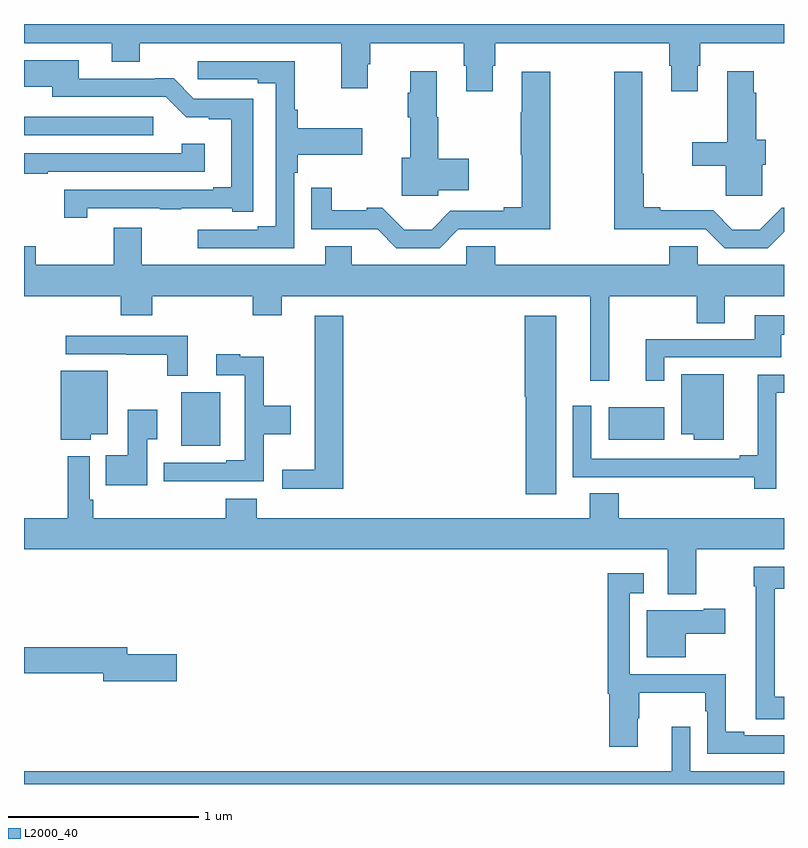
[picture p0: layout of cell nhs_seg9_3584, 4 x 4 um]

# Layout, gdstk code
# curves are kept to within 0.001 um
import gdstk
lib = gdstk.Library(unit=1e-6, precision=1e-09)
def R(c, l, rs):  # rectangles x0, y0, x1, y1
    for r in rs: c.add(gdstk.rectangle(r[:2], r[2:], *l))
def P(c, l, *ps):  # polygons
    for p in ps: c.add(gdstk.Polygon(p, *l))
L2000_40 = (2000, 40)

nhs_seg9_3584 = lib.new_cell('nhs_seg9_3584')
R(nhs_seg9_3584, L2000_40, [(315.827,1214.279,316.033,1214.563), (318.077,1214.312,318.37,1214.482), (315,1215.915,315.679,1216.011)])
P(nhs_seg9_3584, L2000_40, [(317.467,1216.281),(317.48,1216.281),(317.48,1216.4),(318.395,1216.4),(318.395,1216.281),(318.407,1216.281),(318.407,1216.146),(318.547,1216.146),(318.547,1216.281),(318.56,1216.281),(318.56,1216.4),(319,1216.4),(319,1216.5),(315,1216.5),(315,1216.4),(315.461,1216.4),(315.461,1216.301),(315.609,1216.301),(315.609,1216.4),(316.67,1216.4),(316.67,1216.161),(316.81,1216.161),(316.81,1216.289),(316.823,1216.289),(316.823,1216.4),(317.315,1216.4),(317.315,1216.281),(317.327,1216.281),(317.327,1216.146),(317.467,1216.146)],
  [(315.333,1215.531),(315.715,1215.531),(315.715,1215.526),(315.827,1215.526),(315.827,1215.531),(316.095,1215.531),(316.095,1215.513),(316.207,1215.513),(316.207,1216.107),(315.894,1216.107),(315.788,1216.214),(315.692,1216.214),(315.692,1216.212),(315.289,1216.212),(315.289,1216.309),(315,1216.309),(315,1216.169),(315.149,1216.169),(315.149,1216.116),(315.747,1216.116),(315.853,1216.01),(315.972,1216.01),(315.972,1215.999),(316.091,1215.999),(316.091,1215.64),(315.995,1215.64),(315.995,1215.627),(315.213,1215.627),(315.213,1215.48),(315.333,1215.48)],
  [(316.422,1215.716),(316.442,1215.716),(316.442,1215.812),(316.78,1215.812),(316.78,1215.952),(316.442,1215.952),(316.442,1216.048),(316.425,1216.048),(316.425,1216.305),(315.915,1216.305),(315.915,1216.209),(316.229,1216.209),(316.229,1216.189),(316.326,1216.189),(316.326,1215.435),(316.229,1215.435),(316.229,1215.417),(315.915,1215.417),(315.915,1215.321),(316.422,1215.321)],
  [(317.181,1215.626),(317.341,1215.626),(317.341,1215.792),(317.181,1215.792),(317.181,1216.01),(317.173,1216.01),(317.173,1216.252),(317.033,1216.252),(317.033,1216.139),(317.021,1216.139),(317.021,1216.01),(317.033,1216.01),(317.033,1215.797),(316.988,1215.797),(316.988,1215.596),(317.181,1215.596)],
  [(318.886,1215.759),(318.904,1215.759),(318.904,1215.89),(318.854,1215.89),(318.854,1216.139),(318.841,1216.139),(318.841,1216.252),(318.701,1216.252),(318.701,1215.877),(318.516,1215.877),(318.516,1215.755),(318.694,1215.755),(318.694,1215.596),(318.886,1215.596)],
  [(319,1215.406),(319,1215.533),(318.988,1215.533),(318.873,1215.418),(318.728,1215.418),(318.628,1215.519),(318.349,1215.519),(318.349,1215.536),(318.261,1215.536),(318.261,1215.713),(318.253,1215.713),(318.253,1216.249),(318.106,1216.249),(318.106,1215.419),(318.588,1215.42),(318.687,1215.321),(318.915,1215.321)],
  [(317.286,1215.42),(317.769,1215.419),(317.769,1216.249),(317.621,1216.249),(317.621,1216.036),(317.614,1216.036),(317.614,1215.813),(317.621,1215.813),(317.621,1215.536),(317.525,1215.536),(317.525,1215.516),(317.244,1215.516),(317.146,1215.418),(317.001,1215.418),(316.886,1215.533),(316.805,1215.533),(316.805,1215.521),(316.621,1215.521),(316.621,1215.637),(316.512,1215.637),(316.512,1215.419),(316.862,1215.419),(316.959,1215.321),(317.187,1215.321)],
  [(315.125,1215.723),(315.952,1215.723),(315.952,1215.871),(315.831,1215.871),(315.831,1215.819),(315,1215.819),(315,1215.711),(315.125,1215.711)],
  [(318.08,1215.068),(318.541,1215.068),(318.541,1214.926),(318.688,1214.926),(318.688,1215.068),(319,1215.068),(319,1215.232),(318.546,1215.232),(318.546,1215.33),(318.395,1215.33),(318.395,1215.232),(317.48,1215.232),(317.48,1215.33),(317.328,1215.33),(317.328,1215.232),(316.726,1215.232),(316.726,1215.331),(316.586,1215.331),(316.586,1215.232),(315.619,1215.232),(315.619,1215.427),(315.472,1215.427),(315.472,1215.232),(315.063,1215.232),(315.063,1215.33),(315,1215.33),(315,1215.068),(315.509,1215.068),(315.509,1214.966),(315.674,1214.966),(315.674,1215.068),(316.205,1215.068),(316.205,1214.966),(316.357,1214.966),(316.357,1215.068),(317.981,1215.068),(317.981,1214.622),(318.08,1214.622)],
  [(318.369,1214.745),(318.985,1214.745),(318.985,1214.864),(319,1214.864),(319,1214.968),(318.845,1214.968),(318.845,1214.841),(318.272,1214.841),(318.272,1214.622),(318.369,1214.622)],
  [(316.679,1214.965),(316.529,1214.965),(316.529,1214.153),(316.359,1214.153),(316.359,1214.054),(316.679,1214.054)],
  [(317.8,1214.965),(317.636,1214.965),(317.636,1214.538),(317.642,1214.538),(317.642,1214.025),(317.8,1214.025)],
  [(315.862,1214.859),(315.219,1214.859),(315.219,1214.763),(315.538,1214.763),(315.538,1214.758),(315.753,1214.758),(315.753,1214.648),(315.862,1214.648)],
  [(315.977,1214.094),(316.262,1214.094),(316.262,1214.342),(316.405,1214.342),(316.405,1214.49),(316.262,1214.49),(316.262,1214.75),(316.139,1214.75),(316.139,1214.761),(316.011,1214.761),(316.011,1214.652),(316.161,1214.652),(316.161,1214.203),(316.064,1214.203),(316.064,1214.19),(315.735,1214.19),(315.735,1214.093),(315.977,1214.093)],
  [(315.352,1214.342),(315.442,1214.342),(315.442,1214.674),(315.194,1214.674),(315.194,1214.312),(315.352,1214.312)],
  [(318.682,1214.656),(318.458,1214.656),(318.458,1214.342),(318.524,1214.342),(318.524,1214.312),(318.682,1214.312)],
  [(318.96,1214.559),(319,1214.559),(319,1214.655),(318.863,1214.655),(318.863,1214.231),(318.767,1214.231),(318.767,1214.211),(317.985,1214.211),(317.985,1214.491),(317.889,1214.491),(317.889,1214.115),(318.214,1214.115),(318.214,1214.114),(318.844,1214.114),(318.844,1214.055),(318.96,1214.055)],
  [(315.649,1214.314),(315.7,1214.314),(315.7,1214.47),(315.545,1214.47),(315.545,1214.23),(315.43,1214.23),(315.43,1214.072),(315.649,1214.072)],
  [(318.537,1213.736),(319,1213.736),(319,1213.9),(318.131,1213.9),(318.131,1214.03),(317.978,1214.03),(317.978,1213.9),(316.226,1213.9),(316.226,1214.002),(316.061,1214.002),(316.061,1213.9),(315.365,1213.9),(315.365,1213.996),(315.345,1213.996),(315.345,1214.224),(315.229,1214.224),(315.229,1213.9),(315,1213.9),(315,1213.736),(318.389,1213.736),(318.389,1213.499),(318.537,1213.499)],
  [(319,1212.96),(318.95,1212.96),(318.95,1213.528),(319,1213.528),(319,1213.644),(318.84,1213.644),(318.84,1213.541),(318.851,1213.541),(318.851,1212.841),(319,1212.841)],
  [(319,1212.756),(318.79,1212.756),(318.79,1212.776),(318.694,1212.776),(318.694,1213.077),(318.189,1213.077),(318.189,1213.503),(318.262,1213.503),(318.262,1213.609),(318.073,1213.609),(318.073,1212.974),(318.08,1212.974),(318.08,1212.696),(318.229,1212.696),(318.229,1212.846),(318.237,1212.846),(318.237,1212.98),(318.585,1212.98),(318.585,1212.884),(318.597,1212.884),(318.597,1212.66),(319,1212.66)],
  [(318.484,1213.292),(318.691,1213.292),(318.691,1213.422),(318.578,1213.422),(318.578,1213.414),(318.278,1213.414),(318.278,1213.166),(318.484,1213.166)],
  [(315.805,1213.184),(315.544,1213.184),(315.544,1213.22),(315,1213.22),(315,1213.084),(315.416,1213.084),(315.416,1213.042),(315.805,1213.042)],
  [(319,1212.568),(318.507,1212.568),(318.507,1212.802),(318.41,1212.802),(318.41,1212.568),(315,1212.568),(315,1212.5),(319,1212.5)])

lib.write_gds('nhs_seg9_3584.gds')
